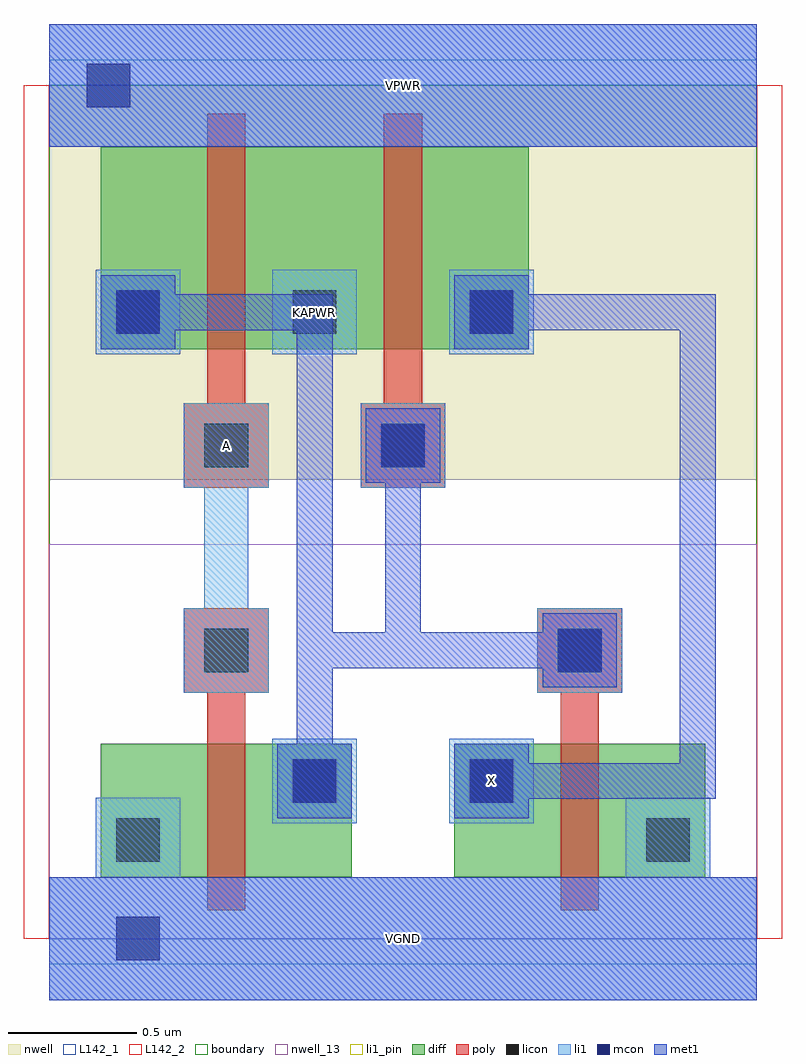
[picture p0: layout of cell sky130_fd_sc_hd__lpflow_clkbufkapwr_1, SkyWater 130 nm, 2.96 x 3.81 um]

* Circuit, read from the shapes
.subckt sky130_fd_sc_hd__lpflow_clkbufkapwr_1 A KAPWR VGND VPWR X
XM1 n1 A VGND VSUBS sky130_fd_pr__nfet_01v8 w=0.52 l=0.15
XM2 VGND n1 X VSUBS sky130_fd_pr__nfet_01v8 w=0.52 l=0.15
XM3 KAPWR A n1 n2 sky130_fd_pr__pfet_01v8 w=0.79 l=0.15
XM4 X n1 KAPWR n2 sky130_fd_pr__pfet_01v8 w=0.79 l=0.15
.ends

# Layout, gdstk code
import gdstk
lib = gdstk.Library(unit=1e-6, precision=1e-09)
def R(c, l, rs):  # rectangles x0, y0, x1, y1
    for r in rs: c.add(gdstk.rectangle(r[:2], r[2:], *l))
def A(c, l, x, y, w, h, nx, ny, dx, dy):  # array of equal rectangles
    R(c, l, [(x+i*dx, y+j*dy, x+i*dx+w, y+j*dy+h) for i in range(nx) for j in range(ny)])
def P(c, l, *ps):  # polygons
    for p in ps: c.add(gdstk.Polygon(p, *l))
nwell_13 = (64, 13)
nwell = (64, 20)
diff = (65, 20)
poly = (66, 20)
licon = (66, 44)
li1_pin = (67, 16)
li1 = (67, 20)
mcon = (67, 44)
met1 = (68, 20)
L142_1 = (142, 1)
L142_2 = (142, 2)
boundary = (235, 4)

sky130_fd_sc_hd__lpflow_ = lib.new_cell('sky130_fd_sc_hd__lpflow_clkbufkapwr_1')
R(sky130_fd_sc_hd__lpflow_, nwell_13, [(0,0,2.76,1.54)])
R(sky130_fd_sc_hd__lpflow_, nwell, [(0,1.79,2.76,3.33)])
R(sky130_fd_sc_hd__lpflow_, diff, [(0.2,0.24,1.18,0.76), (0.2,0.24,0.615,0.76), (0.615,0.24,1.18,0.76), (1.58,0.24,2.56,0.76), (1.58,0.24,1.995,0.76), (1.995,0.24,2.56,0.76), (0.2,2.3,1.87,3.09), (0.2,2.3,0.615,3.09), (0.615,2.3,1.305,3.09), (1.305,2.3,1.87,3.09)])
P(sky130_fd_sc_hd__lpflow_, poly, [(0.615,0.11),(0.615,0.96),(0.525,0.96),(0.525,1.29),(0.855,1.29),(0.855,0.96),(0.765,0.96),(0.765,0.11)],
  [(0.525,1.76),(0.525,2.09),(0.615,2.09),(0.615,3.22),(0.765,3.22),(0.765,2.09),(0.855,2.09),(0.855,1.76)],
  [(1.995,0.11),(1.995,0.96),(1.905,0.96),(1.905,1.29),(2.235,1.29),(2.235,0.96),(2.145,0.96),(2.145,0.11)],
  [(1.215,1.76),(1.215,2.09),(1.305,2.09),(1.305,3.22),(1.455,3.22),(1.455,2.09),(1.545,2.09),(1.545,1.76)])
A(sky130_fd_sc_hd__lpflow_, licon, 0.26, 2.36, 0.17, 0.17, 3, 1, 0.69, 0)
R(sky130_fd_sc_hd__lpflow_, licon, [(0.26,0.3,0.43,0.47), (2.33,0.3,2.5,0.47), (0.95,0.53,1.12,0.7), (1.64,0.53,1.81,0.7), (0.605,1.04,0.775,1.21), (1.985,1.04,2.155,1.21), (0.605,1.84,0.775,2.01), (1.295,1.84,1.465,2.01)])
R(sky130_fd_sc_hd__lpflow_, li1_pin, [(0,-0.24,2.76,0.24), (1.56,0.45,1.89,0.78), (0.87,2.28,1.2,2.61), (0,3.09,2.76,3.57)])
P(sky130_fd_sc_hd__lpflow_, li1_pin, [(0.525,0.96),(0.525,1.29),(0.605,1.29),(0.605,1.76),(0.525,1.76),(0.525,2.09),(0.855,2.09),(0.855,1.76),(0.775,1.76),(0.775,1.29),(0.855,1.29),(0.855,0.96)])
A(sky130_fd_sc_hd__lpflow_, li1, 0.18, 2.28, 0.33, 0.33, 3, 1, 0.69, 0)
R(sky130_fd_sc_hd__lpflow_, li1, [(0.87,0.45,1.2,0.78), (1.56,0.45,1.89,0.78), (1.905,0.96,2.235,1.29), (1.215,1.76,1.545,2.09), (0,3.09,2.76,3.57)])
P(sky130_fd_sc_hd__lpflow_, li1, [(0,-0.24),(0,0.24),(0.18,0.24),(0.18,0.55),(0.51,0.55),(0.51,0.24),(2.25,0.24),(2.25,0.55),(2.58,0.55),(2.58,0.24),(2.76,0.24),(2.76,-0.24)],
  [(0.525,0.96),(0.525,1.29),(0.605,1.29),(0.605,1.76),(0.525,1.76),(0.525,2.09),(0.855,2.09),(0.855,1.76),(0.775,1.76),(0.775,1.29),(0.855,1.29),(0.855,0.96)])
R(sky130_fd_sc_hd__lpflow_, mcon, [(0.26,-0.085,0.43,0.085), (0.95,0.53,1.12,0.7), (1.64,0.53,1.81,0.7), (1.985,1.04,2.155,1.21), (1.295,1.84,1.465,2.01), (0.26,2.36,0.43,2.53), (1.64,2.36,1.81,2.53), (0.145,3.245,0.315,3.415)])
R(sky130_fd_sc_hd__lpflow_, met1, [(0,-0.24,2.76,0.24), (0,3.09,2.76,3.57)])
P(sky130_fd_sc_hd__lpflow_, met1, [(0.89,0.47),(0.89,0.76),(0.965,0.76),(0.965,2.375),(0.49,2.375),(0.49,2.3),(0.2,2.3),(0.2,2.59),(0.49,2.59),(0.49,2.515),(1.105,2.515),(1.105,1.195),(1.31,1.195),(1.31,1.78),(1.235,1.78),(1.235,2.07),(1.525,2.07),(1.525,1.78),(1.45,1.78),(1.45,1.195),(1.925,1.195),(1.925,1.27),(2.215,1.27),(2.215,0.98),(1.925,0.98),(1.925,1.055),(1.105,1.055),(1.105,0.76),(1.18,0.76),(1.18,0.47)],
  [(1.58,0.47),(1.58,0.76),(1.87,0.76),(1.87,0.685),(2.46,0.685),(2.46,2.375),(1.87,2.375),(1.87,2.3),(1.58,2.3),(1.58,2.59),(1.87,2.59),(1.87,2.515),(2.6,2.515),(2.6,0.545),(1.87,0.545),(1.87,0.47)])
R(sky130_fd_sc_hd__lpflow_, L142_1, [(0,-0.1,2.76,0), (0,3.33,2.76,3.43)])
R(sky130_fd_sc_hd__lpflow_, L142_2, [(-0.1,0,0,3.33), (2.76,0,2.86,3.33)])
R(sky130_fd_sc_hd__lpflow_, boundary, [(0,0,2.76,3.33)])
sky130_fd_sc_hd__lpflow_.add(gdstk.Label('X', (1.725,0.615), layer=67, texttype=5))
sky130_fd_sc_hd__lpflow_.add(gdstk.Label('KAPWR', (1.035,2.445), layer=67, texttype=5))
sky130_fd_sc_hd__lpflow_.add(gdstk.Label('A', (0.69,1.925), layer=67, texttype=5))
sky130_fd_sc_hd__lpflow_.add(gdstk.Label('VGND', (1.38,0), layer=67, texttype=5))
sky130_fd_sc_hd__lpflow_.add(gdstk.Label('VPWR', (1.38,3.33), layer=67, texttype=5))
sky130_fd_sc_hd__lpflow_.add(gdstk.Label('VGND', (1.38,0), layer=68, texttype=5))
sky130_fd_sc_hd__lpflow_.add(gdstk.Label('VPWR', (1.38,3.33), layer=68, texttype=5))

lib.write_gds('sky130_fd_sc_hd__lpflow_clkbufkapwr_1.gds')
